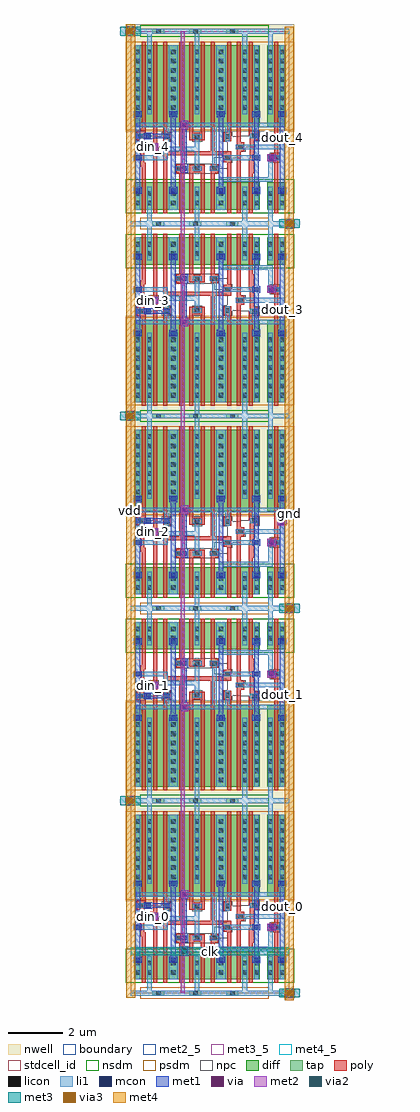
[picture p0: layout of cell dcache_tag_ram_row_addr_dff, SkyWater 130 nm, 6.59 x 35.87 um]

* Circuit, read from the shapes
.subckt dcache_tag_ram_row_addr_dff clk din_0 din_1 din_2 din_3 din_4 dout_0 dout_1 dout_2 dout_3 dout_4 gnd vdd
XM1 gnd n1 n2 gnd sky130_fd_pr__nfet_01v8 w=1 l=0.15
XM2 gnd n3 n4 gnd sky130_fd_pr__nfet_01v8 w=1 l=0.15
XM3 gnd n5 n6 gnd sky130_fd_pr__nfet_01v8 w=1 l=0.15
XM4 gnd n7 n8 gnd sky130_fd_pr__nfet_01v8 w=1 l=0.15
XM5 gnd n9 n10 gnd sky130_fd_pr__nfet_01v8 w=1 l=0.15
XM6 n11 din_0 gnd gnd sky130_fd_pr__nfet_01v8 w=1 l=0.15
XM7 n12 din_1 gnd gnd sky130_fd_pr__nfet_01v8 w=1 l=0.15
XM8 n13 din_2 gnd gnd sky130_fd_pr__nfet_01v8 w=1 l=0.15
XM9 n14 din_3 gnd gnd sky130_fd_pr__nfet_01v8 w=1 l=0.15
XM10 n15 din_4 gnd gnd sky130_fd_pr__nfet_01v8 w=1 l=0.15
XM11 n1 n16 n11 gnd sky130_fd_pr__nfet_01v8 w=1 l=0.15
XM12 n3 n17 n12 gnd sky130_fd_pr__nfet_01v8 w=1 l=0.15
XM13 n5 n18 n13 gnd sky130_fd_pr__nfet_01v8 w=1 l=0.15
XM14 n7 n19 n14 gnd sky130_fd_pr__nfet_01v8 w=1 l=0.15
XM15 n9 n20 n15 gnd sky130_fd_pr__nfet_01v8 w=1 l=0.15
XM16 n21 clk n1 gnd sky130_fd_pr__nfet_01v8 w=1 l=0.15
XM17 n22 clk n3 gnd sky130_fd_pr__nfet_01v8 w=1 l=0.15
XM18 n23 clk n5 gnd sky130_fd_pr__nfet_01v8 w=1 l=0.15
XM19 n24 clk n7 gnd sky130_fd_pr__nfet_01v8 w=1 l=0.15
XM20 n25 clk n9 gnd sky130_fd_pr__nfet_01v8 w=1 l=0.15
XM21 gnd n2 n21 gnd sky130_fd_pr__nfet_01v8 w=1 l=0.15
XM22 gnd n4 n22 gnd sky130_fd_pr__nfet_01v8 w=1 l=0.15
XM23 gnd n6 n23 gnd sky130_fd_pr__nfet_01v8 w=1 l=0.15
XM24 gnd n8 n24 gnd sky130_fd_pr__nfet_01v8 w=1 l=0.15
XM25 gnd n10 n25 gnd sky130_fd_pr__nfet_01v8 w=1 l=0.15
XM26 n26 n2 gnd gnd sky130_fd_pr__nfet_01v8 w=1 l=0.15
XM27 n27 n4 gnd gnd sky130_fd_pr__nfet_01v8 w=1 l=0.15
XM28 n28 n6 gnd gnd sky130_fd_pr__nfet_01v8 w=1 l=0.15
XM29 n29 n8 gnd gnd sky130_fd_pr__nfet_01v8 w=1 l=0.15
XM30 n30 n10 gnd gnd sky130_fd_pr__nfet_01v8 w=1 l=0.15
XM31 sky130_fd_bd_sram__openram_dff_0/QN clk n26 gnd sky130_fd_pr__nfet_01v8 w=1 l=0.15
XM32 sky130_fd_bd_sram__openram_dff_1/QN clk n27 gnd sky130_fd_pr__nfet_01v8 w=1 l=0.15
XM33 sky130_fd_bd_sram__openram_dff_2/QN clk n28 gnd sky130_fd_pr__nfet_01v8 w=1 l=0.15
XM34 sky130_fd_bd_sram__openram_dff_3/QN clk n29 gnd sky130_fd_pr__nfet_01v8 w=1 l=0.15
XM35 sky130_fd_bd_sram__openram_dff_4/QN clk n30 gnd sky130_fd_pr__nfet_01v8 w=1 l=0.15
XM36 n31 n16 sky130_fd_bd_sram__openram_dff_0/QN gnd sky130_fd_pr__nfet_01v8 w=1 l=0.15
XM37 n32 n17 sky130_fd_bd_sram__openram_dff_1/QN gnd sky130_fd_pr__nfet_01v8 w=1 l=0.15
XM38 n33 n18 sky130_fd_bd_sram__openram_dff_2/QN gnd sky130_fd_pr__nfet_01v8 w=1 l=0.15
XM39 n34 n19 sky130_fd_bd_sram__openram_dff_3/QN gnd sky130_fd_pr__nfet_01v8 w=1 l=0.15
XM40 n35 n20 sky130_fd_bd_sram__openram_dff_4/QN gnd sky130_fd_pr__nfet_01v8 w=1 l=0.15
XM41 gnd dout_0 n31 gnd sky130_fd_pr__nfet_01v8 w=1 l=0.15
XM42 gnd dout_1 n32 gnd sky130_fd_pr__nfet_01v8 w=1 l=0.15
XM43 gnd dout_2 n33 gnd sky130_fd_pr__nfet_01v8 w=1 l=0.15
XM44 gnd dout_3 n34 gnd sky130_fd_pr__nfet_01v8 w=1 l=0.15
XM45 gnd dout_4 n35 gnd sky130_fd_pr__nfet_01v8 w=1 l=0.15
XM46 n16 clk gnd gnd sky130_fd_pr__nfet_01v8 w=1 l=0.15
XM47 n17 clk gnd gnd sky130_fd_pr__nfet_01v8 w=1 l=0.15
XM48 n18 clk gnd gnd sky130_fd_pr__nfet_01v8 w=1 l=0.15
XM49 n19 clk gnd gnd sky130_fd_pr__nfet_01v8 w=1 l=0.15
XM50 n20 clk gnd gnd sky130_fd_pr__nfet_01v8 w=1 l=0.15
XM51 dout_0 sky130_fd_bd_sram__openram_dff_0/QN gnd gnd sky130_fd_pr__nfet_01v8 w=1 l=0.15
XM52 dout_1 sky130_fd_bd_sram__openram_dff_1/QN gnd gnd sky130_fd_pr__nfet_01v8 w=1 l=0.15
XM53 dout_2 sky130_fd_bd_sram__openram_dff_2/QN gnd gnd sky130_fd_pr__nfet_01v8 w=1 l=0.15
XM54 dout_3 sky130_fd_bd_sram__openram_dff_3/QN gnd gnd sky130_fd_pr__nfet_01v8 w=1 l=0.15
XM55 dout_4 sky130_fd_bd_sram__openram_dff_4/QN gnd gnd sky130_fd_pr__nfet_01v8 w=1 l=0.15
XM56 vdd n1 n2 vdd sky130_fd_pr__pfet_01v8 w=3 l=0.15
XM57 vdd n3 n4 vdd sky130_fd_pr__pfet_01v8 w=3 l=0.15
XM58 vdd n5 n6 vdd sky130_fd_pr__pfet_01v8 w=3 l=0.15
XM59 vdd n7 n8 vdd sky130_fd_pr__pfet_01v8 w=3 l=0.15
XM60 vdd n9 n10 vdd sky130_fd_pr__pfet_01v8 w=3 l=0.15
XM61 n36 din_0 vdd vdd sky130_fd_pr__pfet_01v8 w=3 l=0.15
XM62 n37 din_1 vdd vdd sky130_fd_pr__pfet_01v8 w=3 l=0.15
XM63 n38 din_2 vdd vdd sky130_fd_pr__pfet_01v8 w=3 l=0.15
XM64 n39 din_3 vdd vdd sky130_fd_pr__pfet_01v8 w=3 l=0.15
XM65 n40 din_4 vdd vdd sky130_fd_pr__pfet_01v8 w=3 l=0.15
XM66 n1 clk n36 vdd sky130_fd_pr__pfet_01v8 w=3 l=0.15
XM67 n3 clk n37 vdd sky130_fd_pr__pfet_01v8 w=3 l=0.15
XM68 n5 clk n38 vdd sky130_fd_pr__pfet_01v8 w=3 l=0.15
XM69 n7 clk n39 vdd sky130_fd_pr__pfet_01v8 w=3 l=0.15
XM70 n9 clk n40 vdd sky130_fd_pr__pfet_01v8 w=3 l=0.15
XM71 n41 n16 n1 vdd sky130_fd_pr__pfet_01v8 w=3 l=0.15
XM72 n42 n17 n3 vdd sky130_fd_pr__pfet_01v8 w=3 l=0.15
XM73 n43 n18 n5 vdd sky130_fd_pr__pfet_01v8 w=3 l=0.15
XM74 n44 n19 n7 vdd sky130_fd_pr__pfet_01v8 w=3 l=0.15
XM75 n45 n20 n9 vdd sky130_fd_pr__pfet_01v8 w=3 l=0.15
XM76 vdd n2 n41 vdd sky130_fd_pr__pfet_01v8 w=3 l=0.15
XM77 vdd n4 n42 vdd sky130_fd_pr__pfet_01v8 w=3 l=0.15
XM78 vdd n6 n43 vdd sky130_fd_pr__pfet_01v8 w=3 l=0.15
XM79 vdd n8 n44 vdd sky130_fd_pr__pfet_01v8 w=3 l=0.15
XM80 vdd n10 n45 vdd sky130_fd_pr__pfet_01v8 w=3 l=0.15
XM81 n46 n2 vdd vdd sky130_fd_pr__pfet_01v8 w=3 l=0.15
XM82 n47 n4 vdd vdd sky130_fd_pr__pfet_01v8 w=3 l=0.15
XM83 n48 n6 vdd vdd sky130_fd_pr__pfet_01v8 w=3 l=0.15
XM84 n49 n8 vdd vdd sky130_fd_pr__pfet_01v8 w=3 l=0.15
XM85 n50 n10 vdd vdd sky130_fd_pr__pfet_01v8 w=3 l=0.15
XM86 sky130_fd_bd_sram__openram_dff_0/QN n16 n46 vdd sky130_fd_pr__pfet_01v8 w=3 l=0.15
XM87 sky130_fd_bd_sram__openram_dff_1/QN n17 n47 vdd sky130_fd_pr__pfet_01v8 w=3 l=0.15
XM88 sky130_fd_bd_sram__openram_dff_2/QN n18 n48 vdd sky130_fd_pr__pfet_01v8 w=3 l=0.15
XM89 sky130_fd_bd_sram__openram_dff_3/QN n19 n49 vdd sky130_fd_pr__pfet_01v8 w=3 l=0.15
XM90 sky130_fd_bd_sram__openram_dff_4/QN n20 n50 vdd sky130_fd_pr__pfet_01v8 w=3 l=0.15
XM91 n51 clk sky130_fd_bd_sram__openram_dff_0/QN vdd sky130_fd_pr__pfet_01v8 w=3 l=0.15
XM92 n52 clk sky130_fd_bd_sram__openram_dff_1/QN vdd sky130_fd_pr__pfet_01v8 w=3 l=0.15
XM93 n53 clk sky130_fd_bd_sram__openram_dff_2/QN vdd sky130_fd_pr__pfet_01v8 w=3 l=0.15
XM94 n54 clk sky130_fd_bd_sram__openram_dff_3/QN vdd sky130_fd_pr__pfet_01v8 w=3 l=0.15
XM95 n55 clk sky130_fd_bd_sram__openram_dff_4/QN vdd sky130_fd_pr__pfet_01v8 w=3 l=0.15
XM96 vdd dout_0 n51 vdd sky130_fd_pr__pfet_01v8 w=3 l=0.15
XM97 vdd dout_1 n52 vdd sky130_fd_pr__pfet_01v8 w=3 l=0.15
XM98 vdd dout_2 n53 vdd sky130_fd_pr__pfet_01v8 w=3 l=0.15
XM99 vdd dout_3 n54 vdd sky130_fd_pr__pfet_01v8 w=3 l=0.15
XM100 vdd dout_4 n55 vdd sky130_fd_pr__pfet_01v8 w=3 l=0.15
XM101 n16 clk vdd vdd sky130_fd_pr__pfet_01v8 w=3 l=0.15
XM102 n17 clk vdd vdd sky130_fd_pr__pfet_01v8 w=3 l=0.15
XM103 n18 clk vdd vdd sky130_fd_pr__pfet_01v8 w=3 l=0.15
XM104 n19 clk vdd vdd sky130_fd_pr__pfet_01v8 w=3 l=0.15
XM105 n20 clk vdd vdd sky130_fd_pr__pfet_01v8 w=3 l=0.15
XM106 dout_0 sky130_fd_bd_sram__openram_dff_0/QN vdd vdd sky130_fd_pr__pfet_01v8 w=3 l=0.15
XM107 dout_1 sky130_fd_bd_sram__openram_dff_1/QN vdd vdd sky130_fd_pr__pfet_01v8 w=3 l=0.15
XM108 dout_2 sky130_fd_bd_sram__openram_dff_2/QN vdd vdd sky130_fd_pr__pfet_01v8 w=3 l=0.15
XM109 dout_3 sky130_fd_bd_sram__openram_dff_3/QN vdd vdd sky130_fd_pr__pfet_01v8 w=3 l=0.15
XM110 dout_4 sky130_fd_bd_sram__openram_dff_4/QN vdd vdd sky130_fd_pr__pfet_01v8 w=3 l=0.15
.ends

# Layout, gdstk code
import gdstk
lib = gdstk.Library(unit=1e-6, precision=1e-09)
def R(c, l, rs):  # rectangles x0, y0, x1, y1
    for r in rs: c.add(gdstk.rectangle(r[:2], r[2:], *l))
def A(c, l, x, y, w, h, nx, ny, dx, dy):  # array of equal rectangles
    R(c, l, [(x+i*dx, y+j*dy, x+i*dx+w, y+j*dy+h) for i in range(nx) for j in range(ny)])
nwell = (64, 20)
diff = (65, 20)
tap = (65, 44)
poly = (66, 20)
licon = (66, 44)
li1 = (67, 20)
mcon = (67, 44)
met1 = (68, 20)
via = (68, 44)
met2_5 = (69, 5)
met2 = (69, 20)
via2 = (69, 44)
met3_5 = (70, 5)
met3 = (70, 20)
via3 = (70, 44)
met4_5 = (71, 5)
met4 = (71, 20)
stdcell_id = (81, 4)
nsdm = (93, 44)
psdm = (94, 20)
npc = (95, 20)
boundary = (235, 4)

sky130_fd_bd_sram__openr = lib.new_cell('sky130_fd_bd_sram__openram_dff')
R(sky130_fd_bd_sram__openr, nwell, [(-0.18,3.38,6.02,7.335)])
R(sky130_fd_bd_sram__openr, diff, [(0.14,0.51,4.75,1.51), (5.02,0.51,5.7,1.51), (0.14,3.56,4.75,6.56), (5.02,3.56,5.7,6.56)])
A(sky130_fd_bd_sram__openr, tap, 0.805, -0.085, 0.44, 0.17, 3, 2, 1.36, 7.07)
R(sky130_fd_bd_sram__openr, poly, [(0.405,0.38,0.555,2.085), (0.835,0.38,0.985,2.655), (1.195,0.38,1.345,2.505), (1.795,0.38,1.945,1.855), (2.155,0.38,2.305,1.885), (2.585,0.38,2.735,1.885), (2.945,0.38,3.095,1.855), (3.545,0.38,3.695,2.255), (3.905,0.38,4.055,2.655), (4.335,0.38,4.485,1.855), (5.285,0.38,5.435,2.255), (1.675,1.855,1.945,2.185), (2.945,1.855,3.215,2.185), (4.335,1.855,4.54,2.405), (2.155,1.885,2.735,2.155), (0.355,2.085,0.555,2.235), (0.355,2.235,0.505,3.055), (3.425,2.255,3.695,2.505), (5.165,2.255,5.435,2.585), (4.39,2.405,4.54,3.055), (1.195,2.505,3.695,2.655), (5.285,2.585,5.435,6.69), (0.715,2.655,0.985,2.985), (1.795,2.655,1.945,6.69), (2.945,2.655,3.095,6.69), (3.905,2.655,4.175,2.985), (0.835,2.985,0.985,6.69), (3.905,2.985,4.055,6.69), (1.195,3.03,1.465,3.36), (3.425,3.03,3.695,3.36), (0.235,3.055,0.505,3.335), (4.39,3.055,4.69,3.235), (2.155,3.065,2.735,3.335), (4.335,3.235,4.69,3.385), (0.235,3.335,0.555,3.385), (2.155,3.335,2.305,6.69), (2.585,3.335,2.735,6.69), (1.195,3.36,1.345,6.69), (3.545,3.36,3.695,6.69), (0.35,3.385,0.555,3.485), (4.335,3.385,4.485,6.69), (0.405,3.485,0.555,6.69)])
A(sky130_fd_bd_sram__openr, licon, 0.94, -0.085, 0.17, 0.17, 3, 2, 1.36, 7.07)
A(sky130_fd_bd_sram__openr, licon, 0.61, 0.675, 0.17, 0.17, 5, 2, 0.875, 0.34)
A(sky130_fd_bd_sram__openr, licon, 1.725, 1.935, 0.17, 0.17, 3, 1, 0.635, 0)
A(sky130_fd_bd_sram__openr, licon, 0.18, 4.185, 0.17, 0.17, 1, 7, 0, 0.34)
A(sky130_fd_bd_sram__openr, licon, 0.61, 4.185, 0.17, 0.17, 5, 7, 0.875, 0.34)
A(sky130_fd_bd_sram__openr, licon, 4.54, 4.185, 0.17, 0.17, 1, 7, 0, 0.34)
A(sky130_fd_bd_sram__openr, licon, 5.06, 4.185, 0.17, 0.17, 1, 7, 0, 0.34)
A(sky130_fd_bd_sram__openr, licon, 5.49, 4.185, 0.17, 0.17, 1, 7, 0, 0.34)
R(sky130_fd_bd_sram__openr, licon, [(0.18,0.675,0.35,0.845), (4.54,0.675,4.71,0.845), (5.06,0.675,5.23,0.845), (5.49,0.675,5.66,0.845), (0.18,1.015,0.35,1.185), (4.54,1.015,4.71,1.185), (5.06,1.015,5.23,1.185), (5.49,1.015,5.66,1.185), (3.475,2.335,3.645,2.505), (5.215,2.335,5.385,2.505), (0.765,2.735,0.935,2.905), (3.955,2.735,4.125,2.905), (1.245,3.11,1.415,3.28), (3.475,3.11,3.645,3.28), (2.36,3.115,2.53,3.285), (0.285,3.135,0.455,3.305), (4.47,3.135,4.64,3.305)])
A(sky130_fd_bd_sram__openr, li1, 0.61, 0.09, 0.17, 1.26, 3, 1, 1.75, 0)
A(sky130_fd_bd_sram__openr, li1, 0.61, 4.02, 0.17, 2.96, 3, 1, 1.75, 0)
R(sky130_fd_bd_sram__openr, li1, [(0,-0.09,5.84,0.09), (0,-0.09,5.84,0.09), (5.06,0.09,5.23,1.35), (0.18,0.51,0.35,1.35), (1.4,0.51,1.74,1.35), (3.15,0.51,3.49,1.35), (4.54,0.51,4.71,1.355), (5.49,0.51,5.66,1.355), (3.235,1.35,3.405,1.535), (3.235,1.535,5.23,1.705), (5.06,1.705,5.23,2.335), (1.64,1.935,2.065,2.105), (2.28,1.935,2.61,2.105), (2.915,1.935,3.245,2.105), (2.36,2.105,2.53,2.66), (2.995,2.105,3.165,3.535), (0.18,2.335,1.365,2.505), (3.395,2.335,4.71,2.505), (5.06,2.335,5.465,2.505), (1.195,2.505,1.365,2.66), (1.195,2.66,2.53,2.83), (0.685,2.735,1.015,2.905), (3.875,2.735,5.66,2.905), (2.36,2.83,2.53,3.115), (5.49,2.905,5.66,3.26), (1.245,3.03,1.415,3.535), (3.475,3.03,3.645,3.535), (2.28,3.115,2.61,3.285), (0.205,3.135,0.735,3.305), (4.39,3.135,4.72,3.305), (4.47,3.305,4.64,3.535), (0.205,3.535,5.66,3.705), (0.18,3.935,0.35,6.56), (1.485,3.935,1.655,4.02), (3.235,3.935,3.405,4.02), (4.54,3.935,4.71,6.56), (5.49,3.935,5.66,6.56), (1.4,4.02,1.74,6.56), (3.15,4.02,3.49,6.56), (5.06,4.02,5.23,6.98), (0,6.98,5.84,7.16), (0,6.98,5.84,7.16), (0,6.98,5.84,7.16)])
R(sky130_fd_bd_sram__openr, mcon, [(0.18,1.135,0.35,1.305), (1.485,1.135,1.655,1.305), (3.235,1.135,3.405,1.305), (4.54,1.135,4.71,1.305), (5.49,1.135,5.66,1.305), (1.895,1.935,2.065,2.105), (0.18,2.335,0.35,2.505), (4.54,2.335,4.71,2.505), (5.1,2.335,5.27,2.505), (0.765,2.735,0.935,2.905), (5.49,3.09,5.66,3.26), (0.565,3.135,0.735,3.305), (1.895,3.535,2.065,3.705), (0.18,3.935,0.35,4.105), (1.485,3.935,1.655,4.105), (3.235,3.935,3.405,4.105), (4.54,3.935,4.71,4.105), (5.49,3.935,5.66,4.105)])
R(sky130_fd_bd_sram__openr, met1, [(0.12,1.105,0.41,1.335), (1.425,1.105,1.715,1.335), (3.175,1.105,3.465,1.335), (4.48,1.105,4.77,1.335), (5.43,1.105,5.72,1.335), (0.18,1.335,0.35,2.305), (1.485,1.335,1.655,3.135), (3.235,1.335,3.405,3.905), (4.54,1.335,4.71,2.305), (5.49,1.335,5.66,3.045), (1.845,1.86,2.115,1.905), (1.835,1.905,2.125,2.135), (1.845,2.135,2.115,2.18), (1.895,2.18,2.065,3.46), (5.02,2.29,5.35,2.55), (0.12,2.305,0.41,2.535), (4.48,2.305,4.77,2.535), (0.18,2.535,0.35,3.905), (4.54,2.535,4.71,3.905), (0.685,2.69,1.015,2.95), (5.41,3.045,5.74,3.305), (0.505,3.105,0.795,3.135), (0.505,3.135,1.655,3.305), (0.505,3.305,0.795,3.335), (1.485,3.305,1.655,3.905), (5.49,3.305,5.66,3.905), (1.845,3.46,2.115,3.505), (1.835,3.505,2.125,3.735), (1.845,3.735,2.115,3.78), (0.12,3.905,0.41,4.135), (1.425,3.905,1.715,4.135), (3.175,3.905,3.465,4.135), (4.48,3.905,4.77,4.135), (5.43,3.905,5.72,4.135)])
R(sky130_fd_bd_sram__openr, via, [(5.11,2.345,5.26,2.495), (0.775,2.745,0.925,2.895), (5.5,3.1,5.65,3.25), (1.905,3.545,2.055,3.695)])
R(sky130_fd_bd_sram__openr, met2_5, [(0.685,2.69,1.015,2.95), (5.41,3.045,5.74,3.305), (1.845,3.46,2.115,3.78)])
R(sky130_fd_bd_sram__openr, met2, [(5.02,2.29,5.35,2.55), (0.685,2.69,1.015,2.95), (0.685,2.69,1.015,2.95), (0.685,2.69,1.015,2.95), (5.41,3.045,5.74,3.305), (5.41,3.045,5.74,3.305), (5.41,3.045,5.74,3.305), (1.845,3.46,2.115,3.78), (1.845,3.46,2.115,3.78), (1.845,3.46,2.115,3.78)])
R(sky130_fd_bd_sram__openr, stdcell_id, [(0,0,5.84,7.07)])
R(sky130_fd_bd_sram__openr, nsdm, [(-0.18,0.385,6.02,1.635), (0.36,6.86,5.075,7.07), (0.36,7.07,5.075,7.28)])
R(sky130_fd_bd_sram__openr, psdm, [(0.36,-0.21,5.075,0), (0.36,0,5.075,0.21), (-0.18,3.435,6.02,6.685)])
R(sky130_fd_bd_sram__openr, npc, [(1.625,1.835,3.265,2.01), (1.625,2.01,3.57,2.205), (3.07,2.205,3.57,2.235), (3.07,2.235,3.745,2.41), (5.115,2.235,5.485,2.605), (3.07,2.41,4.05,2.43), (3.375,2.43,4.05,2.605), (3.55,2.605,4.05,2.635), (0.665,2.635,1.035,2.81), (3.55,2.635,4.225,2.81), (0.36,2.81,1.34,3.01), (3.55,2.81,4.565,3.01), (0.36,3.01,1.515,3.035), (3.375,3.01,4.565,3.035), (2.26,3.015,2.63,3.385), (0.185,3.035,1.515,3.205), (3.375,3.035,4.74,3.205), (0.185,3.205,0.86,3.23), (1.145,3.205,1.515,3.38), (3.375,3.205,3.745,3.38), (4.03,3.205,4.74,3.23), (0.185,3.23,0.555,3.405), (4.37,3.23,4.74,3.405)])
R(sky130_fd_bd_sram__openr, boundary, [(0,0,5.84,7.07)])
sky130_fd_bd_sram__openr.add(gdstk.Label('QN', (5.035,2.52), layer=69, texttype=5))
sky130_fd_bd_sram__openr.add(gdstk.Label('CLK', (1.98,3.62), layer=69, texttype=5))
sky130_fd_bd_sram__openr.add(gdstk.Label('D', (0.85,2.82), layer=69, texttype=5))
sky130_fd_bd_sram__openr.add(gdstk.Label('Q', (5.575,3.175), layer=69, texttype=5))
sky130_fd_bd_sram__openr.add(gdstk.Label('VDD', (2.74,7.08), layer=67, texttype=5))
sky130_fd_bd_sram__openr.add(gdstk.Label('GND', (2.72,0), layer=67, texttype=5))
sky130_fd_bd_sram__openr.add(gdstk.Label('D', (0.85,2.82), layer=69, texttype=5))
sky130_fd_bd_sram__openr.add(gdstk.Label('Q', (5.575,3.175), layer=69, texttype=5))
sky130_fd_bd_sram__openr.add(gdstk.Label('clk', (1.98,3.62), layer=69, texttype=5))
sky130_fd_bd_sram__openr.add(gdstk.Label('vdd', (2.92,7.07), layer=67, texttype=5))
sky130_fd_bd_sram__openr.add(gdstk.Label('gnd', (2.92,0), layer=67, texttype=5))

dcache_tag_ram_contact_1 = lib.new_cell('dcache_tag_ram_contact_13')
R(dcache_tag_ram_contact_1, li1, [(0.06,0,0.23,0.33)])
R(dcache_tag_ram_contact_1, mcon, [(0.06,0.08,0.23,0.25)])
R(dcache_tag_ram_contact_1, met1, [(0,0.05,0.29,0.28)])
R(dcache_tag_ram_contact_1, stdcell_id, [(0,0,0.29,0.33)])
R(dcache_tag_ram_contact_1, boundary, [(0,0,0.29,0.33)])

c_dcache_tag_ram_contact_1 = lib.new_cell('dcache_tag_ram_contact_18')
R(c_dcache_tag_ram_contact_1, met1, [(0,0.03,0.32,0.29)])
R(c_dcache_tag_ram_contact_1, via, [(0.085,0.085,0.235,0.235)])
R(c_dcache_tag_ram_contact_1, met2, [(0.03,0,0.29,0.32)])
R(c_dcache_tag_ram_contact_1, stdcell_id, [(0,0,0.32,0.32)])
R(c_dcache_tag_ram_contact_1, boundary, [(0,0,0.32,0.32)])

dcache_tag_ram_contact_2 = lib.new_cell('dcache_tag_ram_contact_21')
R(dcache_tag_ram_contact_2, met2, [(0.025,0,0.305,0.37)])
R(dcache_tag_ram_contact_2, via2, [(0.065,0.085,0.265,0.285)])
R(dcache_tag_ram_contact_2, met3, [(0,0.02,0.33,0.35)])
R(dcache_tag_ram_contact_2, stdcell_id, [(0,0,0.33,0.37)])
R(dcache_tag_ram_contact_2, boundary, [(0,0,0.33,0.37)])

c_dcache_tag_ram_contact_2 = lib.new_cell('dcache_tag_ram_contact_22')
R(c_dcache_tag_ram_contact_2, met3, [(0,0.005,0.38,0.325)])
R(c_dcache_tag_ram_contact_2, via3, [(0.09,0.065,0.29,0.265)])
R(c_dcache_tag_ram_contact_2, met4, [(0.025,0,0.355,0.33)])
R(c_dcache_tag_ram_contact_2, stdcell_id, [(0,0,0.38,0.33)])
R(c_dcache_tag_ram_contact_2, boundary, [(0,0,0.38,0.33)])

dcache_tag_ram_row_addr_ = lib.new_cell('dcache_tag_ram_row_addr_dff')
R(dcache_tag_ram_row_addr_, met1, [(5.68,-0.13,6,0.13), (-0.16,6.94,0.16,7.2), (-0.16,6.94,0.16,7.2), (5.68,14.01,6,14.27), (5.68,14.01,6,14.27), (-0.16,21.08,0.16,21.34), (-0.16,21.08,0.16,21.34), (5.68,28.15,6,28.41), (5.68,28.15,6,28.41), (-0.16,35.22,0.16,35.48)])
R(dcache_tag_ram_row_addr_, met2_5, [(0.685,2.69,1.015,2.95), (5.41,3.045,5.74,3.305), (5.41,10.835,5.74,11.095), (0.685,11.19,1.015,11.45), (0.685,16.83,1.015,17.09), (5.41,17.185,5.74,17.445), (5.41,24.975,5.74,25.235), (0.685,25.33,1.015,25.59), (0.685,30.97,1.015,31.23), (5.41,31.325,5.74,31.585)])
R(dcache_tag_ram_row_addr_, met2, [(5.7,-0.12,5.98,0.125), (1.845,0,1.985,35.35), (0.685,2.69,1.015,2.95), (5.41,3.045,5.74,3.305), (-0.14,6.95,0.14,7.195), (-0.14,6.95,0.14,7.195), (5.41,10.835,5.74,11.095), (0.685,11.19,1.015,11.45), (5.7,14.02,5.98,14.265), (5.7,14.02,5.98,14.265), (0.685,16.83,1.015,17.09), (5.41,17.185,5.74,17.445), (-0.14,21.09,0.14,21.335), (-0.14,21.09,0.14,21.335), (5.41,24.975,5.74,25.235), (0.685,25.33,1.015,25.59), (5.7,28.16,5.98,28.405), (5.7,28.16,5.98,28.405), (0.685,30.97,1.015,31.23), (5.41,31.325,5.74,31.585), (-0.14,35.23,0.14,35.475)])
R(dcache_tag_ram_row_addr_, met3_5, [(0,1.39,5.84,1.69)])
R(dcache_tag_ram_row_addr_, met3, [(5.465,-0.16,6.215,0.16), (0,1.39,5.84,1.69), (-0.375,6.91,0.375,7.23), (-0.375,6.91,0.375,7.23), (5.465,13.98,6.215,14.3), (5.465,13.98,6.215,14.3), (-0.375,21.05,0.375,21.37), (-0.375,21.05,0.375,21.37), (5.465,28.12,6.215,28.44), (5.465,28.12,6.215,28.44), (-0.375,35.19,0.375,35.51)])
R(dcache_tag_ram_row_addr_, met4_5, [(5.675,-0.255,6.005,35.515), (-0.165,-0.165,0.165,35.605)])
R(dcache_tag_ram_row_addr_, met4, [(5.675,-0.255,6.005,35.515), (-0.165,-0.165,0.165,35.605)])
R(dcache_tag_ram_row_addr_, stdcell_id, [(0,0,5.84,35.35)])
R(dcache_tag_ram_row_addr_, boundary, [(0,0,5.84,35.35)])
dcache_tag_ram_row_addr_.add(gdstk.Reference(sky130_fd_bd_sram__openr, (0,0)))
dcache_tag_ram_row_addr_.add(gdstk.Reference(sky130_fd_bd_sram__openr, (0,14.14), x_reflection=True))
dcache_tag_ram_row_addr_.add(gdstk.Reference(sky130_fd_bd_sram__openr, (0,14.14)))
dcache_tag_ram_row_addr_.add(gdstk.Reference(sky130_fd_bd_sram__openr, (0,28.28), x_reflection=True))
dcache_tag_ram_row_addr_.add(gdstk.Reference(sky130_fd_bd_sram__openr, (0,28.28)))
dcache_tag_ram_row_addr_.add(gdstk.Reference(dcache_tag_ram_contact_1, (-0.145,6.905)))
dcache_tag_ram_row_addr_.add(gdstk.Reference(c_dcache_tag_ram_contact_1, (-0.16,6.91)))
dcache_tag_ram_row_addr_.add(gdstk.Reference(dcache_tag_ram_contact_2, (-0.165,6.885)))
dcache_tag_ram_row_addr_.add(gdstk.Reference(c_dcache_tag_ram_contact_2, (-0.19,6.905)))
dcache_tag_ram_row_addr_.add(gdstk.Reference(dcache_tag_ram_contact_1, (-0.145,6.905)))
dcache_tag_ram_row_addr_.add(gdstk.Reference(c_dcache_tag_ram_contact_1, (-0.16,6.91)))
dcache_tag_ram_row_addr_.add(gdstk.Reference(dcache_tag_ram_contact_2, (-0.165,6.885)))
dcache_tag_ram_row_addr_.add(gdstk.Reference(c_dcache_tag_ram_contact_2, (-0.19,6.905)))
dcache_tag_ram_row_addr_.add(gdstk.Reference(dcache_tag_ram_contact_1, (-0.145,21.045)))
dcache_tag_ram_row_addr_.add(gdstk.Reference(c_dcache_tag_ram_contact_1, (-0.16,21.05)))
dcache_tag_ram_row_addr_.add(gdstk.Reference(dcache_tag_ram_contact_2, (-0.165,21.025)))
dcache_tag_ram_row_addr_.add(gdstk.Reference(c_dcache_tag_ram_contact_2, (-0.19,21.045)))
dcache_tag_ram_row_addr_.add(gdstk.Reference(dcache_tag_ram_contact_1, (-0.145,21.045)))
dcache_tag_ram_row_addr_.add(gdstk.Reference(c_dcache_tag_ram_contact_1, (-0.16,21.05)))
dcache_tag_ram_row_addr_.add(gdstk.Reference(dcache_tag_ram_contact_2, (-0.165,21.025)))
dcache_tag_ram_row_addr_.add(gdstk.Reference(c_dcache_tag_ram_contact_2, (-0.19,21.045)))
dcache_tag_ram_row_addr_.add(gdstk.Reference(dcache_tag_ram_contact_1, (-0.145,35.185)))
dcache_tag_ram_row_addr_.add(gdstk.Reference(c_dcache_tag_ram_contact_1, (-0.16,35.19)))
dcache_tag_ram_row_addr_.add(gdstk.Reference(dcache_tag_ram_contact_2, (-0.165,35.165)))
dcache_tag_ram_row_addr_.add(gdstk.Reference(c_dcache_tag_ram_contact_2, (-0.19,35.185)))
dcache_tag_ram_row_addr_.add(gdstk.Reference(dcache_tag_ram_contact_1, (5.695,-0.165)))
dcache_tag_ram_row_addr_.add(gdstk.Reference(c_dcache_tag_ram_contact_1, (5.68,-0.16)))
dcache_tag_ram_row_addr_.add(gdstk.Reference(dcache_tag_ram_contact_2, (5.675,-0.185)))
dcache_tag_ram_row_addr_.add(gdstk.Reference(c_dcache_tag_ram_contact_2, (5.65,-0.165)))
dcache_tag_ram_row_addr_.add(gdstk.Reference(dcache_tag_ram_contact_1, (5.695,13.975)))
dcache_tag_ram_row_addr_.add(gdstk.Reference(c_dcache_tag_ram_contact_1, (5.68,13.98)))
dcache_tag_ram_row_addr_.add(gdstk.Reference(dcache_tag_ram_contact_2, (5.675,13.955)))
dcache_tag_ram_row_addr_.add(gdstk.Reference(c_dcache_tag_ram_contact_2, (5.65,13.975)))
dcache_tag_ram_row_addr_.add(gdstk.Reference(dcache_tag_ram_contact_1, (5.695,13.975)))
dcache_tag_ram_row_addr_.add(gdstk.Reference(c_dcache_tag_ram_contact_1, (5.68,13.98)))
dcache_tag_ram_row_addr_.add(gdstk.Reference(dcache_tag_ram_contact_2, (5.675,13.955)))
dcache_tag_ram_row_addr_.add(gdstk.Reference(c_dcache_tag_ram_contact_2, (5.65,13.975)))
dcache_tag_ram_row_addr_.add(gdstk.Reference(dcache_tag_ram_contact_1, (5.695,28.115)))
dcache_tag_ram_row_addr_.add(gdstk.Reference(c_dcache_tag_ram_contact_1, (5.68,28.12)))
dcache_tag_ram_row_addr_.add(gdstk.Reference(dcache_tag_ram_contact_2, (5.675,28.095)))
dcache_tag_ram_row_addr_.add(gdstk.Reference(c_dcache_tag_ram_contact_2, (5.65,28.115)))
dcache_tag_ram_row_addr_.add(gdstk.Reference(dcache_tag_ram_contact_1, (5.695,28.115)))
dcache_tag_ram_row_addr_.add(gdstk.Reference(c_dcache_tag_ram_contact_1, (5.68,28.12)))
dcache_tag_ram_row_addr_.add(gdstk.Reference(dcache_tag_ram_contact_2, (5.675,28.095)))
dcache_tag_ram_row_addr_.add(gdstk.Reference(c_dcache_tag_ram_contact_2, (5.65,28.115)))
dcache_tag_ram_row_addr_.add(gdstk.Reference(dcache_tag_ram_contact_2, (1.815,1.355)))
dcache_tag_ram_row_addr_.add(gdstk.Label('vdd', (0,17.72), layer=71, texttype=5))
dcache_tag_ram_row_addr_.add(gdstk.Label('gnd', (5.84,17.63), layer=71, texttype=5))
dcache_tag_ram_row_addr_.add(gdstk.Label('din_0', (0.85,2.82), layer=69, texttype=5))
dcache_tag_ram_row_addr_.add(gdstk.Label('dout_0', (5.575,3.175), layer=69, texttype=5))
dcache_tag_ram_row_addr_.add(gdstk.Label('din_1', (0.85,11.32), layer=69, texttype=5))
dcache_tag_ram_row_addr_.add(gdstk.Label('dout_1', (5.575,10.965), layer=69, texttype=5))
dcache_tag_ram_row_addr_.add(gdstk.Label('din_2', (0.85,16.96), layer=69, texttype=5))
dcache_tag_ram_row_addr_.add(gdstk.Label('dout_2', (5.575,17.315), layer=69, texttype=5))
dcache_tag_ram_row_addr_.add(gdstk.Label('din_3', (0.85,25.46), layer=69, texttype=5))
dcache_tag_ram_row_addr_.add(gdstk.Label('dout_3', (5.575,25.105), layer=69, texttype=5))
dcache_tag_ram_row_addr_.add(gdstk.Label('din_4', (0.85,31.1), layer=69, texttype=5))
dcache_tag_ram_row_addr_.add(gdstk.Label('dout_4', (5.575,31.455), layer=69, texttype=5))
dcache_tag_ram_row_addr_.add(gdstk.Label('clk', (2.92,1.54), layer=70, texttype=5))

lib.write_gds('dcache_tag_ram_row_addr_dff.gds')
